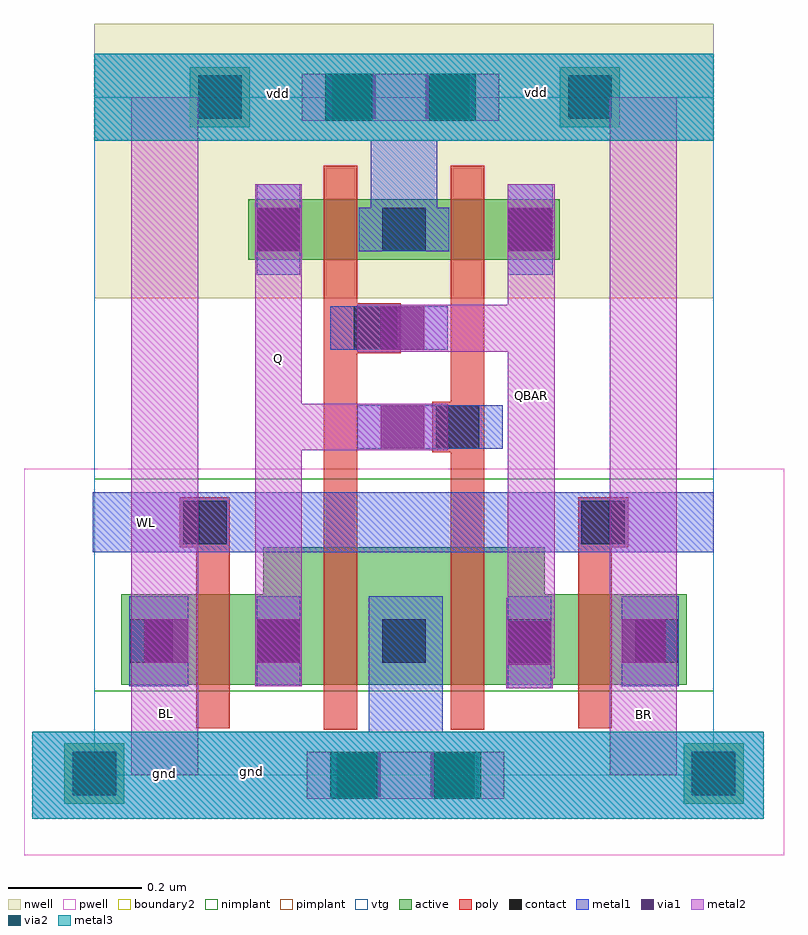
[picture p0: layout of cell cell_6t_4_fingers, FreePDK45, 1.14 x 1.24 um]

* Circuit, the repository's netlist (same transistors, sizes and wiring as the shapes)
************************************************************************
* auCdl Netlist:
* 
* Library Name:  openram
* Top Cell Name: cell_6t_4_fingers
* View Name:     schematic
* Netlisted on:  Jan 13 19:53:37 2021
************************************************************************

*.EQUATION
*.SCALE METER
*.MEGA
.PARAM



************************************************************************
* Library Name: openram
* Cell Name:    cell_6t_4_fingers
* View Name:    schematic
************************************************************************

.SUBCKT cell_6t_4_fingers BL BR WL vdd gnd
M3 Q QBAR gnd gnd NMOS_VTG W=205.00n L=50n m=1
M2 QBAR Q gnd gnd NMOS_VTG W=205.00n L=50n m=1
M1 BR WL QBAR gnd NMOS_VTG W=135.00n L=50n m=1
M0 Q WL BL gnd NMOS_VTG W=135.00n L=50n m=1
M5 Q QBAR vdd vdd PMOS_VTG W=90n L=50n m=1
M4 QBAR Q vdd vdd PMOS_VTG W=90n L=50n m=1
.ENDS

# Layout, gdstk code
import gdstk
lib = gdstk.Library(unit=1e-6, precision=5e-10)
def R(c, l, rs):  # rectangles x0, y0, x1, y1
    for r in rs: c.add(gdstk.rectangle(r[:2], r[2:], *l))
def A(c, l, x, y, w, h, nx, ny, dx, dy):  # array of equal rectangles
    R(c, l, [(x+i*dx, y+j*dy, x+i*dx+w, y+j*dy+h) for i in range(nx) for j in range(ny)])
active = (1, 0)
pwell = (2, 0)
nwell = (3, 0)
nimplant = (4, 0)
pimplant = (5, 0)
vtg = (6, 0)
poly = (9, 0)
contact = (10, 0)
metal1 = (11, 0)
via1 = (12, 0)
metal2 = (13, 0)
via2 = (14, 0)
metal3 = (15, 0)
boundary2 = (239, 0)

cell_6t_4_fingers = lib.new_cell('cell_6t_4_fingers')
A(cell_6t_4_fingers, active, 0.23, 0.155, 0.09, 0.09, 3, 2, 0.1875, 0.615)
R(cell_6t_4_fingers, active, [(-0.045,-0.0425,0.045,0.0475), (0.88,-0.0425,0.97,0.0475), (0.04,0.135,0.885,0.27), (0.2525,0.135,0.6725,0.34), (0.04,0.155,0.13,0.245), (0.795,0.155,0.885,0.245), (0.23,0.77,0.695,0.86), (0.1425,0.9675,0.2325,1.0575), (0.695,0.9675,0.785,1.0575)])
R(cell_6t_4_fingers, pwell, [(-0.105,-0.12,1.03,0.4575)])
R(cell_6t_4_fingers, nwell, [(0,0.7125,0.925,1.1225)])
R(cell_6t_4_fingers, nimplant, [(0,0.125,0.925,0.4425), (0.1425,0.9675,0.2325,1.0575), (0.695,0.9675,0.785,1.0575)])
R(cell_6t_4_fingers, pimplant, [(-0.045,-0.0425,0.045,0.0475), (0.88,-0.0425,0.97,0.0475), (0.23,0.77,0.695,0.86)])
R(cell_6t_4_fingers, vtg, [(0,0,0.925,1.0125)])
R(cell_6t_4_fingers, poly, [(0.3425,0.0675,0.3925,0.91), (0.5325,0.0675,0.5825,0.91), (0.1525,0.07,0.2025,0.415), (0.7225,0.07,0.7725,0.415), (0.1275,0.34,0.2025,0.415), (0.7225,0.34,0.7975,0.415), (0.505,0.4825,0.58,0.5575), (0.3825,0.63,0.4575,0.705)])
A(cell_6t_4_fingers, contact, 0.2425, 0.1675, 0.065, 0.065, 3, 2, 0.1875, 0.615)
R(cell_6t_4_fingers, contact, [(-0.0325,-0.03,0.0325,0.035), (0.8925,-0.03,0.9575,0.035), (0.0525,0.1675,0.1175,0.2325), (0.8075,0.1675,0.8725,0.2325), (0.1325,0.345,0.1975,0.41), (0.7275,0.345,0.7925,0.41), (0.51,0.4875,0.575,0.5525), (0.3875,0.635,0.4525,0.7), (0.155,0.98,0.22,1.045), (0.7075,0.98,0.7725,1.045)])
A(cell_6t_4_fingers, metal1, 0.2425, 0.1325, 0.065, 0.135, 3, 1, 0.1875, 0)
R(cell_6t_4_fingers, metal1, [(-0.0925,-0.065,1,0.065), (0.3275,-0.035,0.6025,0.035), (0.41,-0.03,0.52,0.2675), (0.6175,0.13,0.6825,0.265), (0.0525,0.1325,0.1175,0.2675), (0.075,0.1325,0.14,0.2675), (0.2425,0.1325,0.3075,0.2675), (0.7875,0.1325,0.8525,0.2675), (0.8075,0.1325,0.8725,0.2675), (-0.0025,0.3325,0.925,0.4225), (0.0975,0.345,0.2325,0.41), (0.6925,0.345,0.8275,0.41), (0.3925,0.4875,0.5275,0.5525), (0.475,0.4875,0.61,0.5525), (0.3525,0.635,0.4875,0.7), (0.3925,0.635,0.5275,0.7), (0.2425,0.7475,0.3075,0.8825), (0.2425,0.7475,0.3075,0.8825), (0.6175,0.7475,0.6825,0.8825), (0.62,0.7475,0.685,0.8825), (0.395,0.7825,0.53,0.8475), (0.4125,0.8025,0.5125,1.015), (0,0.9475,0.925,1.0775), (0.32,0.9775,0.595,1.0475)])
R(cell_6t_4_fingers, via1, [(0.3625,-0.0325,0.4275,0.0325), (0.5025,-0.0325,0.5675,0.0325), (0.6175,0.165,0.6825,0.23), (0.075,0.1675,0.14,0.2325), (0.2425,0.1675,0.3075,0.2325), (0.7875,0.1675,0.8525,0.2325), (0.4275,0.4875,0.4925,0.5525), (0.4275,0.635,0.4925,0.7), (0.2425,0.7825,0.3075,0.8475), (0.62,0.7825,0.685,0.8475), (0.355,0.98,0.42,1.045), (0.495,0.98,0.56,1.045)])
R(cell_6t_4_fingers, metal2, [(0.3175,-0.035,0.6125,0.035), (0.3175,-0.035,0.6125,0.035), (0.055,0,0.155,1.0125), (0.77,0,0.87,1.0125), (0.615,0.13,0.685,0.265), (0.0725,0.1325,0.1425,0.2675), (0.24,0.1325,0.31,0.2675), (0.785,0.1325,0.855,0.2675), (0.24,0.145,0.31,0.8825), (0.6175,0.145,0.6875,0.8825), (0.28,0.485,0.5275,0.555), (0.3925,0.485,0.5275,0.555), (0.3925,0.6325,0.5275,0.7025), (0.5,0.6325,0.6875,0.7025), (0.24,0.7475,0.31,0.8825), (0.6175,0.7475,0.6875,0.8825), (0.31,0.9775,0.605,1.0475), (0.31,0.9775,0.605,1.0475)])
R(cell_6t_4_fingers, via2, [(0.3525,-0.035,0.4225,0.035), (0.5075,-0.035,0.5775,0.035), (0.345,0.9775,0.415,1.0475), (0.5,0.9775,0.57,1.0475)])
R(cell_6t_4_fingers, metal3, [(-0.0925,-0.065,1,0.065), (0.3175,-0.035,0.6125,0.035), (0,0.9475,0.925,1.0775), (0.31,0.9775,0.605,1.0475)])
R(cell_6t_4_fingers, boundary2, [(0,0,0.925,1.0125)])
cell_6t_4_fingers.add(gdstk.Label('WL', (0.0775,0.3775), layer=11, texttype=0))
cell_6t_4_fingers.add(gdstk.Label('gnd', (0.105,0.0025), layer=11, texttype=0))
cell_6t_4_fingers.add(gdstk.Label('vdd', (0.275,1.0175), layer=11, texttype=0))
cell_6t_4_fingers.add(gdstk.Label('QBAR', (0.6525,0.5675), layer=13, texttype=0))
cell_6t_4_fingers.add(gdstk.Label('Q', (0.275,0.6225), layer=13, texttype=0))
cell_6t_4_fingers.add(gdstk.Label('BR', (0.82,0.09), layer=13, texttype=0))
cell_6t_4_fingers.add(gdstk.Label('BL', (0.1075,0.0925), layer=13, texttype=0))
cell_6t_4_fingers.add(gdstk.Label('vdd', (0.66,1.02), layer=15, texttype=0))
cell_6t_4_fingers.add(gdstk.Label('gnd', (0.235,0.005), layer=15, texttype=0))

lib.write_gds('cell_6t_4_fingers.gds')
